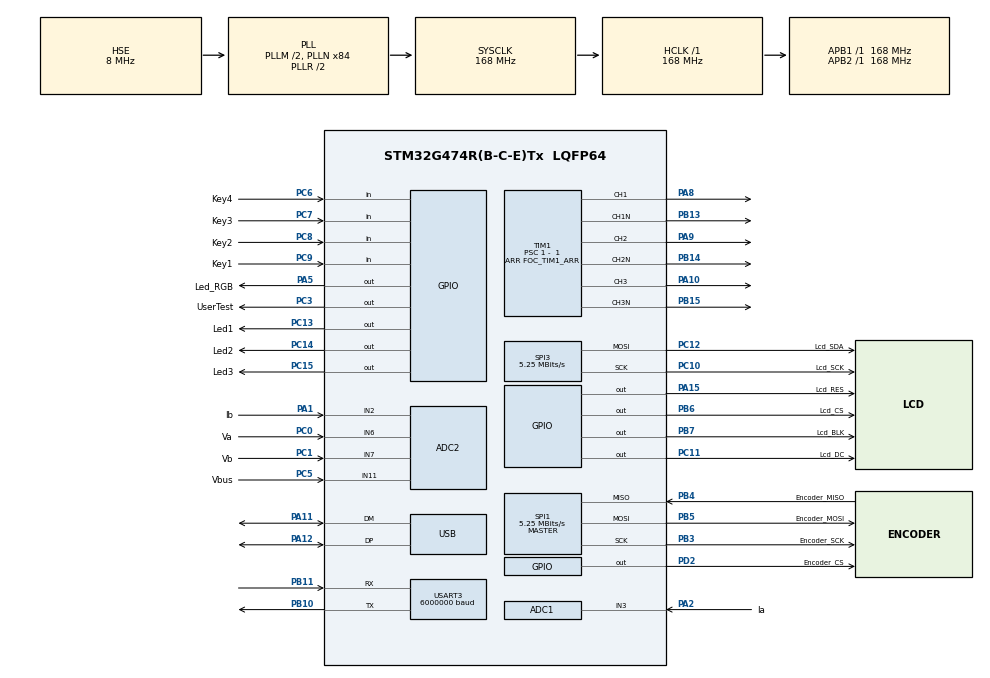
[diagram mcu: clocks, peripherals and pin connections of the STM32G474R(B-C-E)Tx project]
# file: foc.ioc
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ADC1.ClockPrescaler=ADC_CLOCK_ASYNC_DIV4
ADC1.EnableInjectedConversion=ENABLE
ADC1.EnableRegularConversion=DISABLE
ADC1.ExternalTrigInjecConv=ADC_EXTERNALTRIGINJEC_T1_CC4
ADC1.InjNumberOfConversion=1
ADC1.InjectedChannel-1\#ChannelInjectedConversion=ADC_CHANNEL_3
ADC1.InjectedOffsetNumber-1\#ChannelInjectedConversion=ADC_OFFSET_NONE
ADC1.InjectedRank-1\#ChannelInjectedConversion=1
ADC1.InjectedSamplingTime-1\#ChannelInjectedConversion=ADC_SAMPLETIME_2CYCLES_5
ADC1.master=1
ADC2.Channel-3\#ChannelRegularConversion=ADC_CHANNEL_11
ADC2.Channel-5\#ChannelRegularConversion=ADC_CHANNEL_6
ADC2.Channel-6\#ChannelRegularConversion=ADC_CHANNEL_7
ADC2.ClockPrescaler=ADC_CLOCK_ASYNC_DIV4
ADC2.ContinuousConvMode=DISABLE
ADC2.DiscontinuousConvMode=ENABLE
ADC2.EOCSelection=ADC_EOC_SINGLE_CONV
ADC2.EnableInjectedConversion=ENABLE
ADC2.EnableRegularConversion=ENABLE
ADC2.ExternalTrigInjecConv=ADC_EXTERNALTRIGINJEC_T1_CC4
ADC2.InjNumberOfConversion=1
ADC2.InjectedChannel-4\#ChannelInjectedConversion=ADC_CHANNEL_2
ADC2.InjectedOffsetNumber-4\#ChannelInjectedConversion=ADC_OFFSET_NONE
ADC2.InjectedRank-4\#ChannelInjectedConversion=1
ADC2.InjectedSamplingTime-4\#ChannelInjectedConversion=ADC_SAMPLETIME_2CYCLES_5
ADC2.NbrOfConversion=3
ADC2.NbrOfConversionFlag=1
ADC2.OffsetNumber-3\#ChannelRegularConversion=ADC_OFFSET_NONE
ADC2.OffsetNumber-5\#ChannelRegularConversion=ADC_OFFSET_NONE
ADC2.OffsetNumber-6\#ChannelRegularConversion=ADC_OFFSET_NONE
ADC2.Rank-3\#ChannelRegularConversion=1
ADC2.Rank-5\#ChannelRegularConversion=2
ADC2.Rank-6\#ChannelRegularConversion=3
ADC2.SamplingTime-3\#ChannelRegularConversion=ADC_SAMPLETIME_6CYCLES_5
ADC2.SamplingTime-5\#ChannelRegularConversion=ADC_SAMPLETIME_6CYCLES_5
ADC2.SamplingTime-6\#ChannelRegularConversion=ADC_SAMPLETIME_6CYCLES_5
Dma.Request0=USART3_TX
Dma.Request1=USART3_RX
Dma.USART3_RX.1.Direction=DMA_PERIPH_TO_MEMORY
Dma.USART3_RX.1.EventEnable=DISABLE
Dma.USART3_RX.1.Instance=DMA1_Channel2
Dma.USART3_RX.1.MemDataAlignment=DMA_MDATAALIGN_BYTE
Dma.USART3_RX.1.MemInc=DMA_MINC_ENABLE
Dma.USART3_RX.1.Mode=DMA_NORMAL
Dma.USART3_RX.1.PeriphDataAlignment=DMA_PDATAALIGN_BYTE
Dma.USART3_RX.1.PeriphInc=DMA_PINC_DISABLE
Dma.USART3_RX.1.Polarity=HAL_DMAMUX_REQ_GEN_RISING
Dma.USART3_RX.1.Priority=DMA_PRIORITY_LOW
Dma.USART3_RX.1.RequestNumber=1
Dma.USART3_RX.1.SignalID=NONE
Dma.USART3_RX.1.SyncEnable=DISABLE
Dma.USART3_RX.1.SyncPolarity=HAL_DMAMUX_SYNC_NO_EVENT
Dma.USART3_RX.1.SyncRequestNumber=1
Dma.USART3_RX.1.SyncSignalID=NONE
Dma.USART3_TX.0.Direction=DMA_MEMORY_TO_PERIPH
Dma.USART3_TX.0.EventEnable=DISABLE
Dma.USART3_TX.0.Instance=DMA1_Channel1
Dma.USART3_TX.0.MemDataAlignment=DMA_MDATAALIGN_BYTE
Dma.USART3_TX.0.MemInc=DMA_MINC_ENABLE
Dma.USART3_TX.0.Mode=DMA_NORMAL
Dma.USART3_TX.0.PeriphDataAlignment=DMA_PDATAALIGN_BYTE
Dma.USART3_TX.0.PeriphInc=DMA_PINC_DISABLE
Dma.USART3_TX.0.Polarity=HAL_DMAMUX_REQ_GEN_RISING
Dma.USART3_TX.0.Priority=DMA_PRIORITY_LOW
Dma.USART3_TX.0.RequestNumber=1
Dma.USART3_TX.0.SignalID=NONE
Dma.USART3_TX.0.SyncEnable=DISABLE
Dma.USART3_TX.0.SyncPolarity=HAL_DMAMUX_SYNC_NO_EVENT
Dma.USART3_TX.0.SyncRequestNumber=1
Dma.USART3_TX.0.SyncSignalID=NONE
FREERTOS.Tasks01=defaultTask,24,256,StartDefaultTask,Default,NULL,Dynamic,NULL,NULL;gBtnScanTask,24,256,StartBtnScanTask,Default,NULL,Dynamic,NULL,NULL
FREERTOS.configENABLE_FPU=1
FREERTOS.configMINIMAL_STACK_SIZE=256
FREERTOS.configTOTAL_HEAP_SIZE=10240
FREERTOS.configUSE_NEWLIB_REENTRANT=1
Mcu.Family=STM32G4
Mcu.Name=STM32G474R(B-C-E)Tx
Mcu.Package=LQFP64
Mcu.UserConstants=FOC_TIM1_ARR,4200
NVIC.ADC1_2_IRQn=true\:5\:0\:false\:false\:true\:true\:true\:true\:true
NVIC.DMA1_Channel1_IRQn=true\:5\:0\:false\:false\:true\:true\:false\:true\:true
NVIC.DMA1_Channel2_IRQn=true\:5\:0\:false\:false\:true\:true\:false\:true\:true
NVIC.PriorityGroup=NVIC_PRIORITYGROUP_4
NVIC.TIM20_UP_IRQn=true\:15\:0\:false\:false\:true\:false\:false\:true\:true
NVIC.TimeBase=TIM20_UP_IRQn
NVIC.TimeBaseIP=TIM20
NVIC.USART3_IRQn=true\:5\:0\:false\:false\:true\:true\:true\:true\:true
NVIC.USB_LP_IRQn=true\:5\:0\:false\:false\:true\:true\:false\:true\:true
PA1.GPIO_Label=Ib
PA1.Mode=IN2-Single-Ended
PA1.Signal=ADC2_IN2
PA10.Signal=S_TIM1_CH3
PA11.Mode=Device
PA11.Signal=USB_DM
PA12.Mode=Device
PA12.Signal=USB_DP
PA13.Mode=Serial_Wire
PA13.Signal=SYS_JTMS-SWDIO
PA14.Mode=Serial_Wire
PA14.Signal=SYS_JTCK-SWCLK
PA15.GPIO_Label=Lcd_RES
PA15.Signal=GPIO_Output
PA2.GPIO_Label=Ia
PA2.Mode=IN3-Single-Ended
PA2.Signal=ADC1_IN3
PA5.GPIO_Label=Led_RGB
PA5.Signal=GPIO_Output
PA8.Signal=S_TIM1_CH1
PA9.Signal=S_TIM1_CH2
PB10.GPIO_Speed=GPIO_SPEED_FREQ_VERY_HIGH
PB10.Mode=Asynchronous
PB10.Signal=USART3_TX
PB11.GPIO_Speed=GPIO_SPEED_FREQ_VERY_HIGH
PB11.Mode=Asynchronous
PB11.Signal=USART3_RX
PB13.Mode=PWM Generation1 CH1 CH1N
PB13.Signal=TIM1_CH1N
PB14.Mode=PWM Generation2 CH2 CH2N
PB14.Signal=TIM1_CH2N
PB15.Mode=PWM Generation3 CH3 CH3N
PB15.Signal=TIM1_CH3N
PB3.GPIO_Label=Encoder_SCK
PB3.Mode=Full_Duplex_Master
PB3.Signal=SPI1_SCK
PB4.GPIO_Label=Encoder_MISO
PB4.Mode=Full_Duplex_Master
PB4.Signal=SPI1_MISO
PB5.GPIO_Label=Encoder_MOSI
PB5.Mode=Full_Duplex_Master
PB5.Signal=SPI1_MOSI
PB6.GPIO_Label=Lcd_CS
PB6.Signal=GPIO_Output
PB7.GPIO_Label=Lcd_BLK
PB7.Signal=GPIO_Output
PC0.GPIO_Label=Va
PC0.Mode=IN6-Single-Ended
PC0.Signal=ADC2_IN6
PC1.GPIO_Label=Vb
PC1.Mode=IN7-Single-Ended
PC1.Signal=ADC2_IN7
PC10.GPIO_Label=Lcd_SCK
PC10.Mode=TX_Only_Simplex_Unidirect_Master
PC10.Signal=SPI3_SCK
PC11.GPIO_Label=Lcd_DC
PC11.Signal=GPIO_Output
PC12.GPIO_Label=Lcd_SDA
PC12.Mode=TX_Only_Simplex_Unidirect_Master
PC12.Signal=SPI3_MOSI
PC13.GPIO_Label=Led1
PC13.Signal=GPIO_Output
PC14-OSC32_IN.GPIO_Label=Led2
PC14-OSC32_IN.Signal=GPIO_Output
PC15-OSC32_OUT.GPIO_Label=Led3
PC15-OSC32_OUT.Signal=GPIO_Output
PC3.GPIO_Label=UserTest
PC3.Signal=GPIO_Output
PC5.GPIO_Label=Vbus
PC5.Mode=IN11-Single-Ended
PC5.Signal=ADC2_IN11
PC6.GPIO_Label=Key4
PC6.Signal=GPIO_Input
PC7.GPIO_Label=Key3
PC7.Signal=GPIO_Input
PC8.GPIO_Label=Key2
PC8.Signal=GPIO_Input
PC9.GPIO_Label=Key1
PC9.Signal=GPIO_Input
PD2.GPIO_Label=Encoder_CS
PD2.Signal=GPIO_Output
PF0-OSC_IN.Mode=HSE-External-Oscillator
PF0-OSC_IN.Signal=RCC_OSC_IN
PF1-OSC_OUT.Mode=HSE-External-Oscillator
PF1-OSC_OUT.Signal=RCC_OSC_OUT
ProjectManager.HeapSize=0x800
ProjectManager.StackSize=0x800
ProjectManager.TargetToolchain=STM32CubeIDE
RCC.ADC12Freq_Value=168000000
RCC.ADC345Freq_Value=168000000
RCC.AHBFreq_Value=168000000
RCC.APB1Freq_Value=168000000
RCC.APB1TimFreq_Value=168000000
RCC.APB2Freq_Value=168000000
RCC.APB2TimFreq_Value=168000000
RCC.CK48CLockSelection=RCC_USBCLKSOURCE_HSI48
RCC.CortexFreq_Value=168000000
RCC.EXTERNAL_CLOCK_VALUE=12288000
RCC.EnbaleCSS=true
RCC.HCLKFreq_Value=168000000
RCC.HSE_VALUE=8000000
RCC.HSI48_VALUE=48000000
RCC.HSI_VALUE=16000000
RCC.LSE_VALUE=32768
RCC.PLLM=RCC_PLLM_DIV2
RCC.PLLN=84
RCC.PLLQ=RCC_PLLQ_DIV6
RCC.PLLSourceVirtual=RCC_PLLSOURCE_HSE
RCC.SYSCLKFreq_VALUE=168000000
RCC.SYSCLKSource=RCC_SYSCLKSOURCE_PLLCLK
RCC.USBFreq_Value=48000000
RCC.VCOOutputFreq_Value=336000000
SH.S_TIM1_CH1.0=TIM1_CH1,PWM Generation1 CH1 CH1N
SH.S_TIM1_CH2.0=TIM1_CH2,PWM Generation2 CH2 CH2N
SH.S_TIM1_CH3.0=TIM1_CH3,PWM Generation3 CH3 CH3N
SPI1.BaudRatePrescaler=SPI_BAUDRATEPRESCALER_32
SPI1.CLKPhase=SPI_PHASE_2EDGE
SPI1.CalculateBaudRate=5.25 MBits/s
SPI1.DataSize=SPI_DATASIZE_16BIT
SPI1.Direction=SPI_DIRECTION_2LINES
SPI1.Mode=SPI_MODE_MASTER
SPI1.VirtualType=VM_MASTER
SPI3.BaudRatePrescaler=SPI_BAUDRATEPRESCALER_32
SPI3.CLKPhase=SPI_PHASE_2EDGE
SPI3.CalculateBaudRate=5.25 MBits/s
SPI3.DataSize=SPI_DATASIZE_16BIT
SPI3.Direction=SPI_DIRECTION_2LINES
SPI3.Mode=SPI_MODE_MASTER
SPI3.VirtualType=VM_MASTER
STMicroelectronics.X-CUBE-ALGOBUILD.1.3.0.LibraryCcDSPOoLibraryJjDSPOoLibrary=true
TIM1.Channel-PWM\ Generation1\ CH1\ CH1N=TIM_CHANNEL_1
TIM1.Channel-PWM\ Generation2\ CH2\ CH2N=TIM_CHANNEL_2
TIM1.Channel-PWM\ Generation3\ CH3\ CH3N=TIM_CHANNEL_3
TIM1.Channel-PWM\ Generation4\ No\ Output=TIM_CHANNEL_4
TIM1.ClockDivision=TIM_CLOCKDIVISION_DIV2
TIM1.CounterMode=TIM_COUNTERMODE_CENTERALIGNED1
TIM1.DeadTime=20
TIM1.OCMode_PWM-PWM\ Generation4\ No\ Output=TIM_OCMODE_PWM2
TIM1.PeriodNoDither=FOC_TIM1_ARR
TIM1.Prescaler=1 -  1
TIM1.PulseNoDither_4=FOC_TIM1_ARR - 10
TIM1.RepetitionCounter=1
TIM1.TIM_MasterOutputTrigger=TIM_TRGO_OC4REF
USART3.BaudRate=6000000
USART3.VirtualMode-Asynchronous=VM_ASYNC
USB.Sof_enable=DISABLE
USB_DEVICE.CLASS_NAME_FS=CDC
USB_DEVICE.MANUFACTURER_STRING=STMicroelectronicsSTM32G474
USB_DEVICE.VirtualMode=Cdc
USB_DEVICE.VirtualModeFS=Cdc_FS
VP_FREERTOS_VS_CMSIS_V2.Mode=CMSIS_V2
VP_STMicroelectronics.X-CUBE-ALGOBUILD_VS_DSPOoLibraryJjLibrary_1.3.0_1.3.0.Mode=DSPOoLibraryJjLibrary
VP_SYS_VS_DBSignals.Mode=DisableDeadBatterySignals
VP_SYS_VS_tim20.Mode=TIM20
VP_TIM1_VS_ClockSourceINT.Mode=Internal
VP_TIM1_VS_no_output4.Mode=PWM Generation4 No Output
VP_USB_DEVICE_VS_USB_DEVICE_CDC_FS.Mode=CDC_FS
board=custom

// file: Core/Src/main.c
/* USER CODE BEGIN Header */
/**
  ******************************************************************************
  * @file           : main.c
  * @brief          : Main program body
  ******************************************************************************
  * @attention
  *
  * Copyright (c) 2024 STMicroelectronics.
  * All rights reserved.
  *
  * This software is licensed under terms that can be found in the LICENSE file
  * in the root directory of this software component.
  * If no LICENSE file comes with this software, it is provided AS-IS.
  *
  ******************************************************************************
  */
/* USER CODE END Header */
#include "main.h"
#include "cmsis_os.h"
#include "adc.h"
#include "dma.h"
#include "spi.h"
#include "tim.h"
#include "usart.h"
#include "usb_device.h"
#include "gpio.h"

void SystemClock_Config(void);
void MX_FREERTOS_Init(void);

int main(void)
{

  /* MCU Configuration--------------------------------------------------------*/

  /* Reset of all peripherals, Initializes the Flash interface and the Systick. */
  HAL_Init();

  /* Configure the system clock */
  SystemClock_Config();

  /* Initialize all configured peripherals */
  MX_GPIO_Init();
  MX_DMA_Init();
  MX_ADC1_Init();
  MX_ADC2_Init();
  MX_TIM1_Init();
  MX_SPI1_Init();
  MX_SPI3_Init();
  MX_USART3_UART_Init();
  MX_USB_Device_Init();

  /* Init scheduler */
  osKernelInitialize();  /* Call init function for freertos objects (in freertos.c) */
  MX_FREERTOS_Init();

  /* Start scheduler */
  osKernelStart();
  /* We should never get here as control is now taken by the scheduler */
  /* Infinite loop */
  while (1)
  {

  }
}

void SystemClock_Config(void)
{
  RCC_OscInitTypeDef RCC_OscInitStruct = {0};
  RCC_ClkInitTypeDef RCC_ClkInitStruct = {0};

  /** Configure the main internal regulator output voltage
  */
  HAL_PWREx_ControlVoltageScaling(PWR_REGULATOR_VOLTAGE_SCALE1_BOOST);

  /** Initializes the RCC Oscillators according to the specified parameters
  * in the RCC_OscInitTypeDef structure.
  */
  RCC_OscInitStruct.OscillatorType = RCC_OSCILLATORTYPE_HSI48|RCC_OSCILLATORTYPE_HSE;
  RCC_OscInitStruct.HSEState = RCC_HSE_ON;
  RCC_OscInitStruct.HSI48State = RCC_HSI48_ON;
  RCC_OscInitStruct.PLL.PLLState = RCC_PLL_ON;
  RCC_OscInitStruct.PLL.PLLSource = RCC_PLLSOURCE_HSE;
  RCC_OscInitStruct.PLL.PLLM = RCC_PLLM_DIV2;
  RCC_OscInitStruct.PLL.PLLN = 84;
  RCC_OscInitStruct.PLL.PLLP = RCC_PLLP_DIV2;
  RCC_OscInitStruct.PLL.PLLQ = RCC_PLLQ_DIV6;
  RCC_OscInitStruct.PLL.PLLR = RCC_PLLR_DIV2;
  if (HAL_RCC_OscConfig(&RCC_OscInitStruct) != HAL_OK)
  {
    Error_Handler();
  }

  /** Initializes the CPU, AHB and APB buses clocks
  */
  RCC_ClkInitStruct.ClockType = RCC_CLOCKTYPE_HCLK|RCC_CLOCKTYPE_SYSCLK
                              |RCC_CLOCKTYPE_PCLK1|RCC_CLOCKTYPE_PCLK2;
  RCC_ClkInitStruct.SYSCLKSource = RCC_SYSCLKSOURCE_PLLCLK;
  RCC_ClkInitStruct.AHBCLKDivider = RCC_SYSCLK_DIV1;
  RCC_ClkInitStruct.APB1CLKDivider = RCC_HCLK_DIV1;
  RCC_ClkInitStruct.APB2CLKDivider = RCC_HCLK_DIV1;

  if (HAL_RCC_ClockConfig(&RCC_ClkInitStruct, FLASH_LATENCY_4) != HAL_OK)
  {
    Error_Handler();
  }

  /** Enables the Clock Security System
  */
  HAL_RCC_EnableCSS();
}

void HAL_TIM_PeriodElapsedCallback(TIM_HandleTypeDef *htim)
{
  if (htim->Instance == TIM20) {
    HAL_IncTick();
  }
}

void Error_Handler(void)
{
  __disable_irq();
  while (1)
  {
  }
}

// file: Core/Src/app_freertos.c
/* USER CODE BEGIN Header */
/**
  ******************************************************************************
  * File Name          : app_freertos.c
  * Description        : Code for freertos applications
  ******************************************************************************
  * @attention
  *
  * Copyright (c) 2024 STMicroelectronics.
  * All rights reserved.
  *
  * This software is licensed under terms that can be found in the LICENSE file
  * in the root directory of this software component.
  * If no LICENSE file comes with this software, it is provided AS-IS.
  *
  ******************************************************************************
  */
/* USER CODE END Header */

#include "FreeRTOS.h"
#include "task.h"
#include "main.h"
#include "cmsis_os.h"

/* USER CODE BEGIN Includes */

#include <stdio.h>
#include <stdlib.h>
#include <string.h>
#include "arm_math.h"

#include "usbd_cdc_if.h"
#include "tim.h"
#include "adc.h"
#include "usart.h"

#include "utils.h"

#include "bsp.h"
#include "motor.h"
#include "button.h"
#include "digital_filter.h"
#include "foc.h"

/* USER CODE END Includes */

/* USER CODE BEGIN Variables */

#define CH_COUNT 40
struct Frame
{
    float fdata[CH_COUNT];
    unsigned char tail[4];
};

struct Frame vfoaFrame = {
        .tail = {0x00, 0x00, 0x80, 0x7f}
};

uint8_t vofaCmdBuf[1024];

/* USER CODE END Variables */
/* Definitions for defaultTask */
osThreadId_t defaultTaskHandle;
const osThreadAttr_t defaultTask_attributes = {
        .name = "defaultTask",
        .priority = (osPriority_t) osPriorityNormal,
        .stack_size = 256 * 4
};
/* Definitions for gBtnScanTask */
osThreadId_t gBtnScanTaskHandle;
const osThreadAttr_t gBtnScanTask_attributes = {
        .name = "gBtnScanTask",
        .priority = (osPriority_t) osPriorityNormal,
        .stack_size = 256 * 4
};

/* USER CODE BEGIN FunctionPrototypes */

static void bsp_btn_event_callback(void *btn, int event);

/**
 * @brief Control motor work status
 * @param btn
 * @param event
 */
static void bsp_btn_event_callback(void *btn, int event)
{
    if (btn == &btn1)
    {
        motor1.uq += 0.5f;
        if (motor1.uq > motor1.VBus / SQRT3)
            motor1.uq = motor1.VBus / SQRT3;
    }
    else if (btn == &btn2)
    {
        motor1.uq -= 0.5f;
        if (motor1.uq < 0)
            motor1.uq = 0;
    }
    else if (btn == &btn3)
    {
        if (motor1.status != MOTOR_STATUS_RUN)
        {
            motor_set_status(&motor1, MOTOR_STATUS_CALIB_ENCODER);
            motor_align_encoder(&motor1, 0.5f, 0);
            motor_set_status(&motor1, MOTOR_STATUS_STOP);
        }
    }
    else if (btn == &btn4)
    {
        if (event == ButtonEvent_SingleClick)
        {
            motor1.status = motor1.status == MOTOR_STATUS_RUN ? MOTOR_STATUS_STOP : MOTOR_STATUS_RUN;

            if (motor1.status == MOTOR_STATUS_RUN)
            {
                motor_enable(&motor1);
            }
            else
            {
                motor_disable(&motor1);
            }
        }
    }
    else
    {
    }

    led_toggle(&led2);
}

#define WIN_BUF_SIZE    50
float windowFilterBuf[WIN_BUF_SIZE];

float window_filter(float data, float *buf, int len)
{
    float sum = 0;

    for (int i = 1; i < len; i++)
    {
        buf[i - 1] = buf[i];
    }
    buf[len - 1] = data;

    for (int i = 0; i < len; i++)
    {
        sum += buf[i];
    }
    sum /= len;

    return sum;
}

/* USER CODE END FunctionPrototypes */

void StartDefaultTask(void *argument);

void StartBtnScanTask(void *argument);

void MX_FREERTOS_Init(void); /* (MISRA C 2004 rule 8.1) */

void MX_FREERTOS_Init(void)
{
    /* USER CODE BEGIN Init */

    /* bsp and motor init */
    bsp_init();

    /* Install button event callback */
    button_install_event_callback(&btn1, ButtonEvent_SingleClick, bsp_btn_event_callback);
    button_install_event_callback(&btn2, ButtonEvent_SingleClick, bsp_btn_event_callback);
    button_install_event_callback(&btn3, ButtonEvent_SingleClick, bsp_btn_event_callback);
    button_install_event_callback(&btn4, ButtonEvent_SingleClick, bsp_btn_event_callback);

    /* Measure motor phase resistance */
    while (!foc_board.isAdcCalibOvered);
//    motor_meas_phase_resistance(&motor1);
//    motor_meas_phase_resistance2(&motor1);

    /* vofa+ debug */
    HAL_UARTEx_ReceiveToIdle_DMA(&huart3, vofaCmdBuf, 1024);

    /* USER CODE END Init */

    /* Create the thread(s) */
    /* creation of defaultTask */
    defaultTaskHandle = osThreadNew(StartDefaultTask, NULL, &defaultTask_attributes);

    /* creation of gBtnScanTask */
    gBtnScanTaskHandle = osThreadNew(StartBtnScanTask, NULL, &gBtnScanTask_attributes);

}

void StartDefaultTask(void *argument)
{
    /* USER CODE BEGIN StartDefaultTask */

    /* Infinite loop */
    for (;;)
    {
        bsp_get_vbus(&foc_board, &motor1.VBus);
        //bsp_get_phase_voltage(&foc_board, &motor1.ua, &motor1.ub, NULL);
        HAL_Delay(1);

        float upLimit = motor1.VBus / SQRT3 * 0.9f;
        pid_ctrl_set_limit(&motor1.idPid, -upLimit, upLimit);
        pid_ctrl_set_limit(&motor1.iqPid, -upLimit, upLimit);

        /* Led blink. */
        static int ledCnt = 0;
        if (++ledCnt > 500)
        {
            ledCnt = 0;
            led_toggle(&led1);
        }

        osDelay(1);
    }
    /* USER CODE END StartDefaultTask */
}

void StartBtnScanTask(void *argument)
{
    /* USER CODE BEGIN StartBtnScanTask */
    /* Infinite loop */
    for (;;)
    {
        button_ticks();
        HAL_Delay(5);

        osDelay(1);
    }
    /* USER CODE END StartBtnScanTask */
}

/* USER CODE BEGIN Application */

/**
  * @brief  Injected conversion complete callback in non-blocking mode.
  * @param hadc ADC handle
  * @retval None
  */
void HAL_ADCEx_InjectedConvCpltCallback(ADC_HandleTypeDef *hadc)
{
    /* Calc ADC offset */
    static bool isCalcAdcOffsetOvered = false;
    static const int measCnt = 20;
    static int measCntCopy = measCnt;
    if (hadc->Instance == ADC1 && !isCalcAdcOffsetOvered)
    {
        foc_board.iaOffset += HAL_ADCEx_InjectedGetValue(&hadc1, ADC_INJECTED_RANK_1);
        foc_board.ibOffset += HAL_ADCEx_InjectedGetValue(&hadc2, ADC_INJECTED_RANK_1);

        if (--measCntCopy <= 0)
        {
            foc_board.iaOffset /= measCnt;
            foc_board.ibOffset /= measCnt;

            isCalcAdcOffsetOvered = true;
            foc_board.isAdcCalibOvered = true;
        }
    }

    /* Motor status loop state machine */
    if (hadc->Instance == ADC1 && isCalcAdcOffsetOvered)
    {
        HAL_GPIO_WritePin(UserTest_GPIO_Port, UserTest_Pin, GPIO_PIN_SET);

        motor_status_loop(&motor1);

        /* Vofa debug. */
        if (!false)
        {
            int dataIndex = 0;
            vfoaFrame.fdata[dataIndex++] = motor1.ia;
            vfoaFrame.fdata[dataIndex++] = motor1.ib;
            vfoaFrame.fdata[dataIndex++] = (float) motor1.encoderRawData;
            vfoaFrame.fdata[dataIndex++] = motor1.ibeta;
            vfoaFrame.fdata[dataIndex++] = motor1.VBus;
            vfoaFrame.fdata[dataIndex++] = (float) motor1.angleRadOffset;
            vfoaFrame.fdata[dataIndex++] = motor1.theta;

            vfoaFrame.fdata[dataIndex++] = (float) motor1.ta;
            vfoaFrame.fdata[dataIndex++] = (float) motor1.tb;
            vfoaFrame.fdata[dataIndex++] = (float) motor1.tc;

            vfoaFrame.fdata[dataIndex++] = motor1.iqPid.kp;
            vfoaFrame.fdata[dataIndex++] = motor1.iqPid.ki;
            vfoaFrame.fdata[dataIndex++] = motor1.iqRef;
            vfoaFrame.fdata[dataIndex++] = motor1.iq;

            vfoaFrame.fdata[dataIndex++] = motor1.idPid.kp;
            vfoaFrame.fdata[dataIndex++] = motor1.idPid.ki;
            vfoaFrame.fdata[dataIndex++] = motor1.idRef;
            vfoaFrame.fdata[dataIndex++] = motor1.id;

            vfoaFrame.fdata[dataIndex++] = motor1.speedPid.kp;
            vfoaFrame.fdata[dataIndex++] = motor1.speedPid.ki;
            vfoaFrame.fdata[dataIndex++] = motor1.speedRef;
            vfoaFrame.fdata[dataIndex++] = motor1.speedRpm;

            vfoaFrame.fdata[dataIndex++] = motor1.positionPid.kp;
            vfoaFrame.fdata[dataIndex++] = motor1.positionPid.ki;
            vfoaFrame.fdata[dataIndex++] = motor1.positionRef;
            vfoaFrame.fdata[dataIndex++] = motor1.angle;

            vfoaFrame.fdata[dataIndex++] = motor1.uq;
            vfoaFrame.fdata[dataIndex++] = motor1.ud;
            vfoaFrame.fdata[dataIndex++] = (float) motor1.sector;
            vfoaFrame.fdata[dataIndex++] = motor1.hfiVoltAmpl;

            /* HFI */
            vfoaFrame.fdata[dataIndex++] = motor1.ialpha;
            vfoaFrame.fdata[dataIndex++] = motor1.ibeta;
            vfoaFrame.fdata[dataIndex++] = motor1.hfiIalpha;
            vfoaFrame.fdata[dataIndex++] = motor1.hfiIbeta;
            vfoaFrame.fdata[dataIndex++] = motor1.theta;
            vfoaFrame.fdata[dataIndex++] = motor1.hfiTheta;
            vfoaFrame.fdata[dataIndex++] = motor1.id5th;
            vfoaFrame.fdata[dataIndex++] = motor1.iq5th;
            vfoaFrame.fdata[dataIndex++] = motor1.u57thAlpha;
            vfoaFrame.fdata[dataIndex++] = motor1.u57thBeta;

            HAL_UART_Transmit_DMA(&huart3, (uint8_t *) (&vfoaFrame), sizeof(vfoaFrame));
//        CDC_Transmit_FS((uint8_t *) (&vfoaFrame), sizeof(vfoaFrame));
        }

        HAL_GPIO_WritePin(UserTest_GPIO_Port, UserTest_Pin, GPIO_PIN_RESET);
    }
}

/**
 * @brief Parse vofa cmd
 * @param cmdBuf
 * @return
 */
static float vofa_cmd_parse(uint8_t *cmdBuf, char *arg)
{
    return atof(cmdBuf + strlen(arg));
}

/**
  * @brief  Reception Event Callback (Rx event notification called after use of advanced reception service).
  * @param  huart UART handle
  * @param  Size  Number of data available in application reception buffer (indicates a position in
  *               reception buffer until which, data are available)
  * @retval None
  */
void HAL_UARTEx_RxEventCallback(UART_HandleTypeDef *huart, uint16_t Size)
{
    if (huart->Instance == USART3)
    {
        if (strstr(vofaCmdBuf, "uq"))
        {
            motor1.uq = vofa_cmd_parse(vofaCmdBuf, "uq");
        }
        else if (strstr(vofaCmdBuf, "idkp="))
        {
            float kp = vofa_cmd_parse(vofaCmdBuf, "idkp=");
            motor1.idPid.kp = kp;
        }
        else if (strstr(vofaCmdBuf, "idki="))
        {
            float ki = vofa_cmd_parse(vofaCmdBuf, "idkp=");
            motor1.idPid.ki = ki;
        }
        else if (strstr(vofaCmdBuf, "iqkp="))
        {
            float kp = vofa_cmd_parse(vofaCmdBuf, "iqkp=");
            motor1.iqPid.kp = kp;
            motor1.idPid.kp = kp;

//            motor1.iqPid.ka = 1.5f * motor1.idPid.ki / motor1.iqPid.kp;
//            motor1.idPid.ka = 1.5f * motor1.idPid.ki / motor1.idPid.kp;

            motor1.iqPid.ka = 1.0f / motor1.iqPid.kp;
            motor1.idPid.ka = 1.0f / motor1.idPid.kp;
        }
        else if (strstr(vofaCmdBuf, "iqki="))
        {
            float ki = vofa_cmd_parse(vofaCmdBuf, "iqki=");
            motor1.iqPid.ki = ki;
            motor1.idPid.ki = ki;

//            motor1.iqPid.ka = 1.5f * motor1.idPid.ki / motor1.iqPid.kp;
//            motor1.idPid.ka = 1.5f * motor1.idPid.ki / motor1.idPid.kp;

            motor1.iqPid.ka = 1.0f / motor1.iqPid.kp;
            motor1.idPid.ka = 1.0f / motor1.idPid.kp;
        }
        else if (strstr(vofaCmdBuf, "iqref="))
        {
            float iqref = vofa_cmd_parse(vofaCmdBuf, "iqref=");
            motor_set_iq_ref(&motor1, iqref);
        }
        else if (strstr(vofaCmdBuf, "idref="))
        {
            float idref = vofa_cmd_parse(vofaCmdBuf, "idref=");
            motor_set_id_ref(&motor1, idref);
        }
        else if (strstr(vofaCmdBuf, "radOffset="))
        {
            float val = vofa_cmd_parse(vofaCmdBuf, "radOffset=");
            motor1.angleRadOffset = val;
        }
        else if (strstr(vofaCmdBuf, "velref="))
        {
            float val = vofa_cmd_parse(vofaCmdBuf, "velref=");
            motor1.speedRef = val;
        }
        else if (strstr(vofaCmdBuf, "velkp="))
        {
            float val = vofa_cmd_parse(vofaCmdBuf, "velkp=");
            motor1.speedPid.kp = val;
        }
        else if (strstr(vofaCmdBuf, "velki="))
        {
            float val = vofa_cmd_parse(vofaCmdBuf, "velki=");
            motor1.speedPid.ki = val;
        }
        else if (strstr(vofaCmdBuf, "pos_ref="))
        {
            float val = vofa_cmd_parse(vofaCmdBuf, "pos_ref=");
            motor1.positionRef = val;
//            motor_set_round(&motor1, val, 1);
        }
        else if (strstr(vofaCmdBuf, "pos_kp="))
        {
            float val = vofa_cmd_parse(vofaCmdBuf, "pos_kp=");
            motor1.positionPid.kp = val;
        }
        else if (strstr(vofaCmdBuf, "pos_ki="))
        {
            float val = vofa_cmd_parse(vofaCmdBuf, "pos_ki=");
            motor1.positionPid.ki = val;
        }
        else if (strstr(vofaCmdBuf, "theta_offset="))
        {
            float val = vofa_cmd_parse(vofaCmdBuf, "theta_offset=");
            motor1.angleRadOffset = val;
        }
        else if (strstr(vofaCmdBuf, "hfi_volt="))
        {
            float val = vofa_cmd_parse(vofaCmdBuf, "hfi_volt=");
            motor1.hfiVoltAmpl = val;
        }
        else if (strstr(vofaCmdBuf, "motor_en="))
        {
            float val = vofa_cmd_parse(vofaCmdBuf, "motor_en=");

            motor1.status = motor1.status == MOTOR_STATUS_RUN ? MOTOR_STATUS_STOP : MOTOR_STATUS_RUN;

            if (motor1.status == MOTOR_STATUS_RUN)
            {
                motor_enable(&motor1);
            }
            else
            {
                motor_disable(&motor1);
            }
        }
        else
        {
        }

        memset(vofaCmdBuf, 0, 1024);
        HAL_UARTEx_ReceiveToIdle_DMA(&huart3, vofaCmdBuf, 1024);
    }
}

/* USER CODE END Application */
